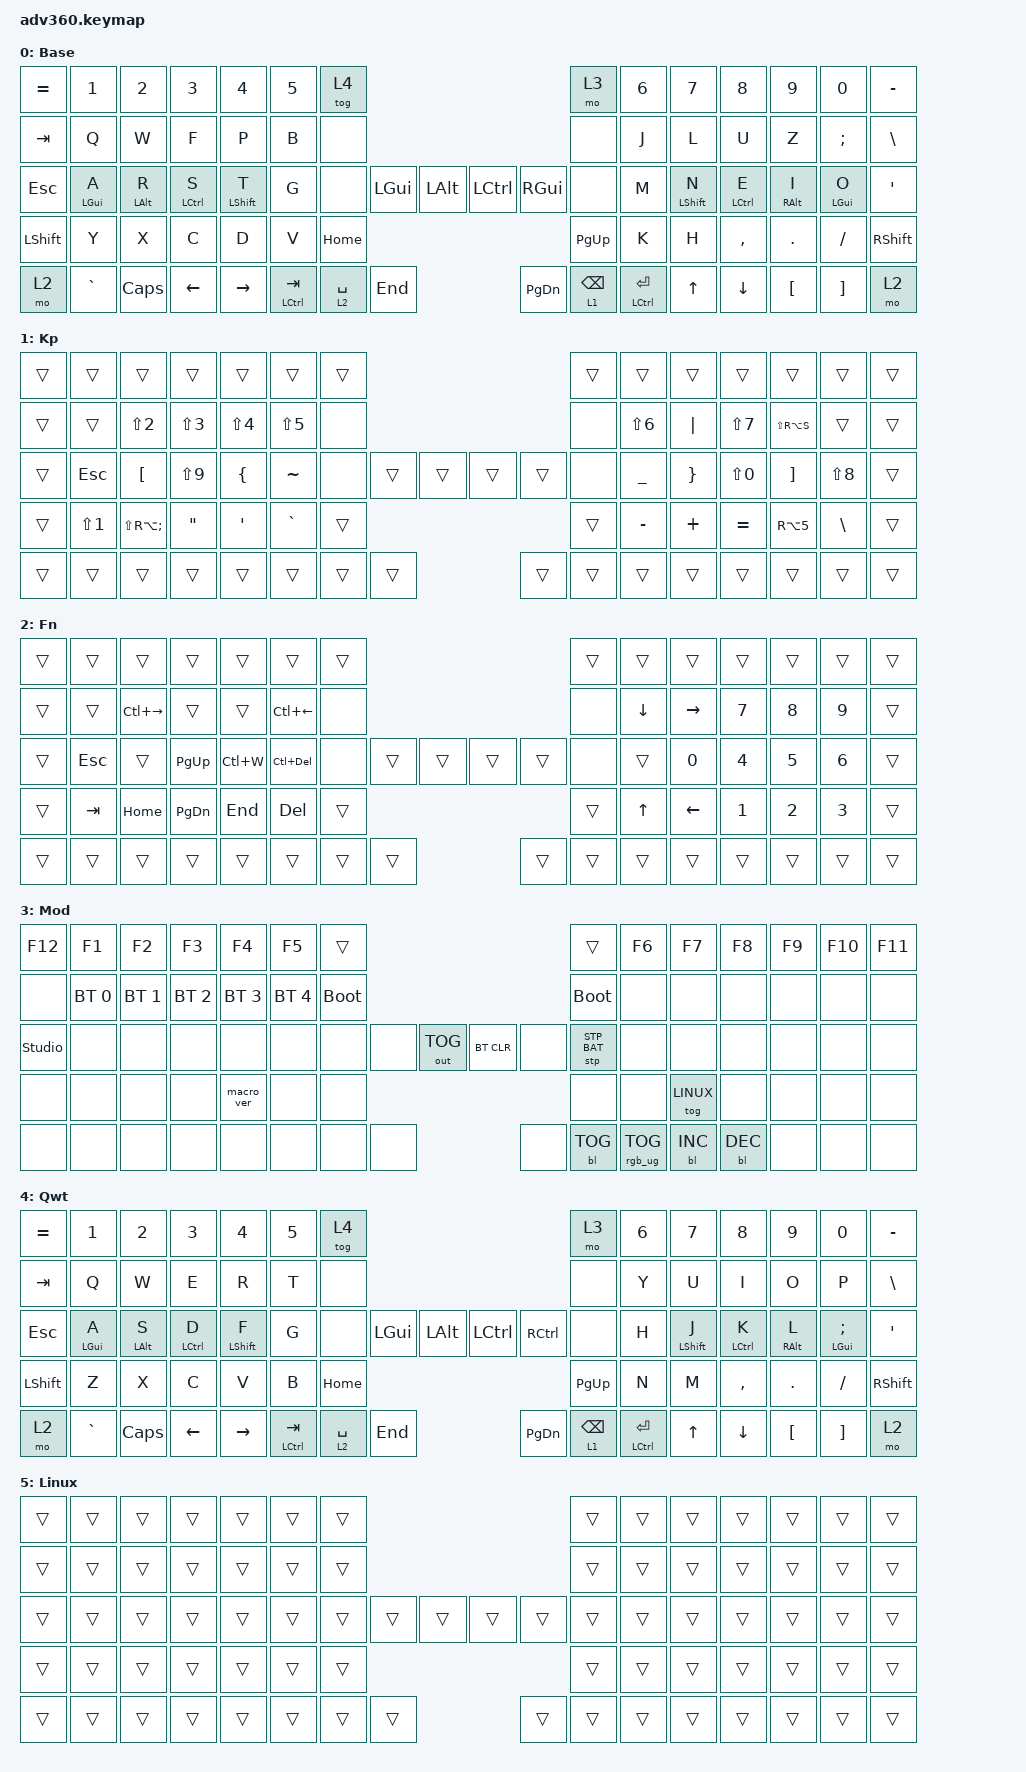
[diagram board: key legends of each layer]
#include <behaviors.dtsi>
#include <dt-bindings/zmk/keys.h>
#include <dt-bindings/zmk/bt.h>
#include <dt-bindings/zmk/outputs.h>
#include <dt-bindings/zmk/rgb.h>
#include <dt-bindings/zmk/stp.h>
#include <dt-bindings/zmk/backlight.h>
#include <dt-bindings/zmk/pointing.h>

#define LINUX 5

#define UMLAUT_AQ <29 15>
#define UMLAUT_SF <31 17>
#define UMLAUT_UE <24 42>
#define UMLAUT_OS <44 26>
#define UMLAUT_MAC_LAYERS <0 1 2 3 4>
#define UMLAUT_LIN_LAYERS <5>

&lt {
    flavor = "tap-preferred";
    quick-tap-ms = <200>;
};
/ {
    conditional_layers {
        compatible = "zmk,conditional-layers";
        tri_layer {
            if-layers = <1 2>;
            then-layer = <3>;
        };
    };
    combos {
        compatible = "zmk,combos";
        #include "umlaut_combos.dtsi"
    };
    behaviors {
      #include "macros.dtsi"
      #include "version.dtsi"

      hm: homerow_mods {
          compatible = "zmk,behavior-hold-tap";
          label = "HOMEROW_MODS";
          #binding-cells = <2>;
          tapping-term-ms = <200>;
          quick_tap_ms = <175>;
          flavor = "tap-preferred";
          bindings = <&kp>, <&kp>;
      };
    };

  keymap {
    compatible = "zmk,keymap";

    default_layer {
      display-name = "Base";
      bindings = <
        &kp EQUAL      &kp N1       &kp N2           &kp N3       &kp N4       &kp N5       &tog 4                                                                  &mo 3        &kp N6     &kp N7      &kp N8      &kp N9        &kp N0        &kp MINUS
        &kp TAB        &kp Q        &kp W            &kp F        &kp P        &kp B        &none                                                                   &none        &kp J      &kp L       &kp U       &kp Z         &kp SEMI      &kp BSLH
        &kp ESC        &hm LGUI A   &hm LALT R       &hm LCTRL S  &hm LSHFT T  &kp G        &none             &kp LGUI   &kp LALT &kp LCTRL   &kp RGUI              &none        &kp M      &hm LSHFT N &hm LCTRL E &hm RALT I    &hm LGUI O    &kp SQT
        &kp LSHFT      &kp Y        &kp X            &kp C        &kp D        &kp V                                      &kp HOME &kp PG_UP                                     &kp K      &kp H       &kp COMMA   &kp DOT       &kp FSLH      &kp RSHFT
        &mo 2          &kp GRAVE    &kp CAPS         &kp LEFT     &kp RIGHT                     &hm LCTRL TAB &lt 2 SPACE &kp END  &kp PG_DN  &lt 1 BSPC &hm LCTRL RET                      &kp UP      &kp DOWN    &kp LBKT      &kp RBKT      &mo 2
      >;
    };
    lower_layer {
      display-name = "Kp";
      bindings = <
        &trans         &trans       &trans           &trans       &trans       &trans       &trans                                                                  &trans       &trans     &trans      &trans      &trans        &trans        &trans
        &trans         &trans       &kp LS(N2)       &kp LS(N3)   &kp LS(N4)   &kp LS(N5)   &none                                                                   &none        &kp LS(N6) &kp PIPE    &kp LS(N7)  &kp LS(RA(S)) &trans        &trans
        &trans         &kp ESC      &kp LBKT         &kp LS(N9)   &kp LBRC     &kp TILDE    &none             &trans      &trans   &trans     &trans                &none        &kp UNDER  &kp RBRC    &kp LS(N0)  &kp RBKT      &kp LS(N8)    &trans
        &trans         &kp LS(N1)   &kp LS(RA(SEMI)) &kp DQT      &kp SQT      &kp GRAVE                                  &trans   &trans                                        &kp MINUS  &kp PLUS    &kp EQUAL   &kp RA(N5)    &kp BSLH      &trans
        &trans         &trans       &trans           &trans       &trans                        &trans        &trans      &trans   &trans     &trans     &trans                             &trans      &trans      &trans        &trans        &trans
      >;
    };
    raise_layer {
      display-name = "Fn";
      bindings = <
        &trans         &trans       &trans           &trans       &trans       &trans       &trans                                                                  &trans       &trans     &trans      &trans      &trans        &trans        &trans
        &trans         &trans       &kp LC(RIGHT)    &trans       &trans       &kp LC(LEFT) &none                                                                   &none        &kp DOWN   &kp RIGHT   &kp N7      &kp N8        &kp N9        &trans
        &trans         &kp ESC      &trans           &kp PG_UP    &kp LC(W)    &kp LC(DEL)  &none             &trans      &trans   &trans     &trans                &none        &trans     &kp N0      &kp N4      &kp N5        &kp N6        &trans
        &trans         &kp TAB      &kp HOME         &kp PG_DN    &kp END      &kp DEL                                    &trans   &trans                                        &kp UP     &kp LEFT    &kp N1      &kp N2        &kp N3        &trans
        &trans         &trans       &trans           &trans       &trans                        &trans        &trans      &trans   &trans     &trans     &trans                             &trans      &trans      &trans        &trans        &trans
      >;
    };
    adjust_layer {
      display-name = "Mod";
      bindings = <
        &kp F12        &kp F1       &kp F2           &kp F3       &kp F4       &kp F5       &trans                                                                  &trans       &kp F6     &kp F7      &kp F8      &kp F9        &kp F10       &kp F11
        &none          &bt BT_SEL 0 &bt BT_SEL 1     &bt BT_SEL 2 &bt BT_SEL 3 &bt BT_SEL 4 &bootloader                                                             &bootloader  &none      &none       &none       &none         &none         &none
        &studio_unlock &none        &none            &none        &none        &none        &none             &none &out OUT_TOG   &bt BT_CLR &none                 &stp STP_BAT &none      &none       &none       &none         &none         &none
        &none          &none        &none            &none        &macro_ver   &none                                      &none    &none                                         &none      &tog LINUX  &none       &none         &none         &none
        &none          &none        &none            &none        &none                         &none         &none       &none    &none      &bl BL_TOG &rgb_ug RGB_TOG                    &bl BL_INC  &bl BL_DEC  &none         &none         &none
      >;
    };
    qwerty {
      display-name = "Qwt";
      bindings = <
        &kp EQUAL      &kp N1       &kp N2           &kp N3       &kp N4       &kp N5       &tog 4                                                                  &mo 3        &kp N6     &kp N7      &kp N8      &kp N9        &kp N0        &kp MINUS
        &kp TAB        &kp Q        &kp W            &kp E        &kp R        &kp T        &none                                                                   &none        &kp Y      &kp U       &kp I       &kp O         &kp P         &kp BSLH
        &kp ESC        &hm LGUI A   &hm LALT S       &hm LCTRL D  &hm LSHFT F  &kp G        &none             &kp LGUI   &kp LALT &kp LCTRL   &kp RCTRL             &none        &kp H      &hm LSHFT J &hm LCTRL K &hm RALT L    &hm LGUI SEMI &kp SQT
        &kp LSHFT      &kp Z        &kp X            &kp C        &kp V        &kp B                                      &kp HOME &kp PG_UP                                     &kp N      &kp M       &kp COMMA   &kp DOT       &kp FSLH      &kp RSHFT
        &mo 2          &kp GRAVE    &kp CAPS         &kp LEFT     &kp RIGHT                     &hm LCTRL TAB &lt 2 SPACE &kp END  &kp PG_DN  &lt 1 BSPC &hm LCTRL RET                      &kp UP      &kp DOWN    &kp LBKT      &kp RBKT      &mo 2
      >;
    };
    linux {
      display-name = "Linux";
      bindings = <
        &trans &trans &trans &trans &trans &trans &trans                                       &trans &trans &trans &trans &trans &trans &trans
        &trans &trans &trans &trans &trans &trans &trans                                       &trans &trans &trans &trans &trans &trans &trans
        &trans &trans &trans &trans &trans &trans &trans      &trans &trans &trans &trans      &trans &trans &trans &trans &trans &trans &trans
        &trans &trans &trans &trans &trans &trans                    &trans &trans                    &trans &trans &trans &trans &trans &trans
        &trans &trans &trans &trans &trans             &trans &trans &trans &trans &trans &trans             &trans &trans &trans &trans &trans
      >;
    };
    extra1 {
      display-name = "Red";
      status = "reserved";
    };

    extra2 {
      display-name = "Purple";
      status = "reserved";
    };

    extra3 {
      display-name = "Cyan";
      status = "reserved";
    };

    extra4 {
      display-name = "Yellow";
      status = "reserved";
    };
  };
};
